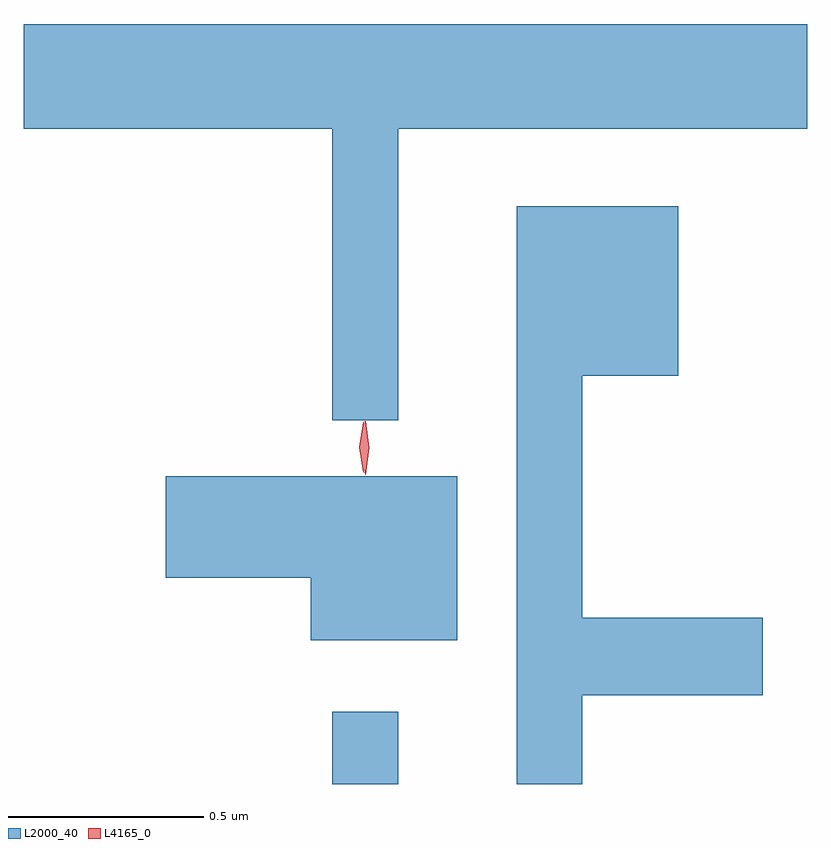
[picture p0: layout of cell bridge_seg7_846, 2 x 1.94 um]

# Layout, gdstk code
import gdstk
lib = gdstk.Library(unit=1e-6, precision=1e-09)
def R(c, l, rs):  # rectangles x0, y0, x1, y1
    for r in rs: c.add(gdstk.rectangle(r[:2], r[2:], *l))
def P(c, l, *ps):  # polygons
    for p in ps: c.add(gdstk.Polygon(p, *l))
L2000_40 = (2000, 40)
L4165_0 = (4165, 0)

bridge_seg7_846 = lib.new_cell('bridge_seg7_846')
R(bridge_seg7_846, L2000_40, [(286.021,1774.804,286.189,1774.988)])
P(bridge_seg7_846, L2000_40, [(286.189,1776.476),(287.233,1776.476),(287.233,1776.744),(285.233,1776.744),(285.233,1776.476),(286.021,1776.476),(286.021,1775.733),(286.189,1775.733)],
  [(286.659,1775.031),(287.119,1775.031),(287.119,1775.229),(286.659,1775.229),(286.659,1775.846),(286.904,1775.846),(286.904,1776.279),(286.491,1776.279),(286.491,1774.804),(286.659,1774.804)],
  [(286.339,1775.589),(285.596,1775.589),(285.596,1775.331),(285.966,1775.331),(285.966,1775.171),(286.339,1775.171)])
P(bridge_seg7_846, L4165_0, [(286.105,1775.594),(286.096,1775.662),(286.104,1775.73),(286.105,1775.73),(286.106,1775.73),(286.115,1775.662),(286.106,1775.594),(286.106,1775.594)],
  [(286.1,1775.6),(286.1,1775.6),(286.09,1775.664),(286.1,1775.727),(286.1,1775.727),(286.101,1775.727),(286.11,1775.664),(286.101,1775.6)])

lib.write_gds('bridge_seg7_846.gds')
